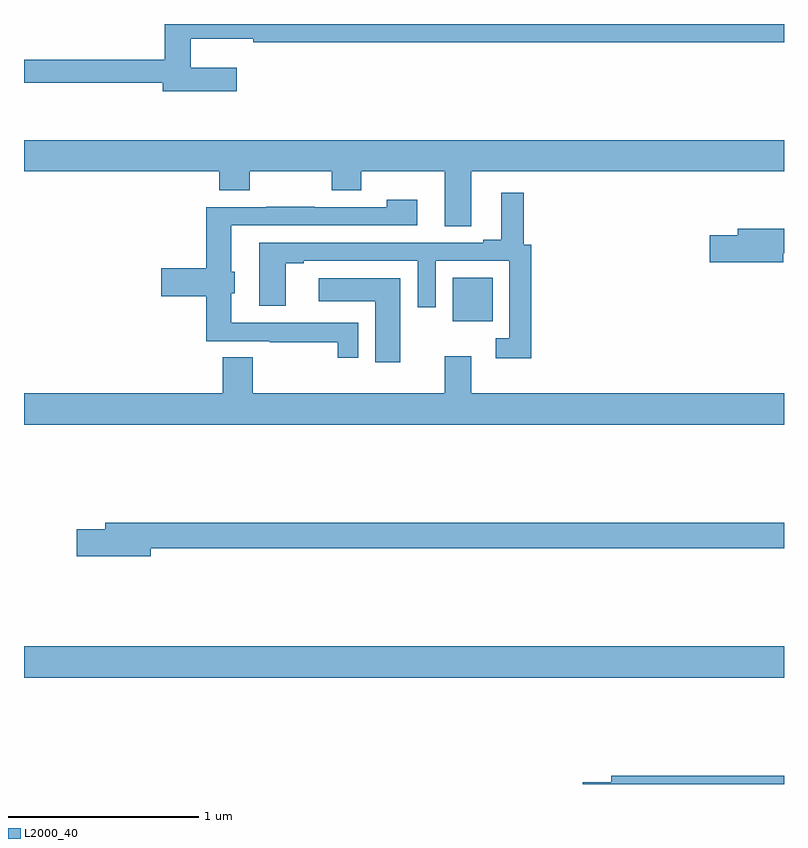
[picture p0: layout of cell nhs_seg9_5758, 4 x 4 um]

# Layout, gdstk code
import gdstk
lib = gdstk.Library(unit=1e-6, precision=1e-09)
def R(c, l, rs):  # rectangles x0, y0, x1, y1
    for r in rs: c.add(gdstk.rectangle(r[:2], r[2:], *l))
def P(c, l, *ps):  # polygons
    for p in ps: c.add(gdstk.Polygon(p, *l))
L2000_40 = (2000, 40)

nhs_seg9_5758 = lib.new_cell('nhs_seg9_5758')
R(nhs_seg9_5758, L2000_40, [(445,1223.06,449,1223.224), (447.257,1224.935,447.466,1225.165)])
P(nhs_seg9_5758, L2000_40, [(446.119,1226.269),(445.877,1226.269),(445.877,1226.423),(446.206,1226.423),(446.206,1226.404),(449,1226.404),(449,1226.5),(445.741,1226.5),(445.741,1226.311),(445,1226.311),(445,1226.19),(445.73,1226.19),(445.73,1226.147),(446.119,1226.147)],
  [(447.355,1225.724),(449,1225.724),(449,1225.888),(445,1225.888),(445,1225.724),(446.027,1225.724),(446.027,1225.625),(446.187,1225.625),(446.187,1225.724),(446.62,1225.724),(446.62,1225.625),(446.775,1225.625),(446.775,1225.724),(447.215,1225.724),(447.215,1225.435),(447.355,1225.435)],
  [(447.671,1225.338),(447.631,1225.338),(447.631,1225.612),(447.512,1225.612),(447.512,1225.365),(447.416,1225.365),(447.416,1225.35),(446.237,1225.35),(446.237,1225.017),(446.377,1225.017),(446.377,1225.242),(446.473,1225.242),(446.473,1225.254),(447.072,1225.254),(447.072,1225.008),(447.168,1225.008),(447.168,1225.254),(447.555,1225.254),(447.555,1224.846),(447.483,1224.846),(447.483,1224.741),(447.671,1224.741)],
  [(446.76,1224.927),(446.092,1224.927),(446.092,1225.083),(446.11,1225.083),(446.11,1225.197),(446.092,1225.197),(446.092,1225.44),(447.07,1225.44),(447.07,1225.576),(446.909,1225.576),(446.909,1225.536),(446.531,1225.536),(446.531,1225.538),(446.275,1225.538),(446.275,1225.536),(445.958,1225.536),(445.958,1225.214),(445.722,1225.214),(445.722,1225.067),(445.958,1225.067),(445.958,1224.831),(446.293,1224.831),(446.293,1224.826),(446.652,1224.826),(446.652,1224.744),(446.76,1224.744)],
  [(448.996,1225.294),(449,1225.294),(449,1225.423),(448.757,1225.423),(448.757,1225.389),(448.608,1225.389),(448.608,1225.247),(448.996,1225.247)],
  [(446.98,1225.162),(446.55,1225.162),(446.55,1225.04),(446.849,1225.04),(446.849,1224.72),(446.98,1224.72)],
  [(449,1224.556),(447.355,1224.556),(447.355,1224.751),(447.215,1224.751),(447.215,1224.556),(446.205,1224.556),(446.205,1224.746),(446.045,1224.746),(446.045,1224.556),(445,1224.556),(445,1224.392),(449,1224.392)],
  [(445.666,1223.74),(449,1223.74),(449,1223.876),(445.427,1223.876),(445.427,1223.84),(445.278,1223.84),(445.278,1223.698),(445.666,1223.698)],
  [(449,1222.544),(448.091,1222.544),(448.091,1222.508),(447.942,1222.508),(447.942,1222.5),(449,1222.5)])

lib.write_gds('nhs_seg9_5758.gds')
